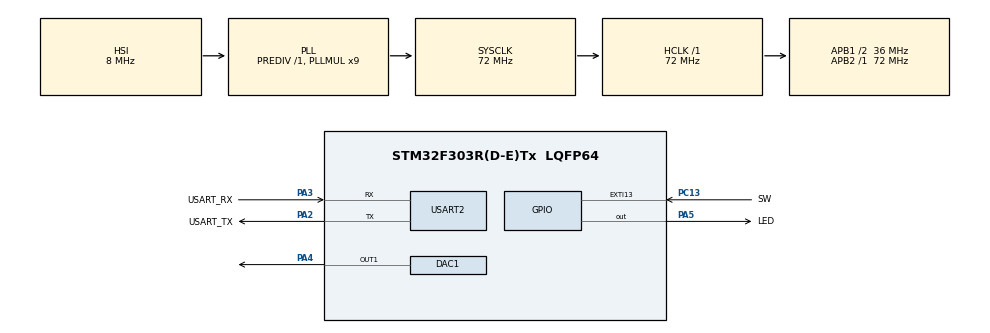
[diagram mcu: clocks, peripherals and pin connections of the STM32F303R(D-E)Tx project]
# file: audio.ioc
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DAC1.DAC_Trigger=DAC_TRIGGER_T6_TRGO
Dma.DAC1_CH1.0.Direction=DMA_MEMORY_TO_PERIPH
Dma.DAC1_CH1.0.Instance=DMA1_Channel3
Dma.DAC1_CH1.0.MemDataAlignment=DMA_MDATAALIGN_WORD
Dma.DAC1_CH1.0.MemInc=DMA_MINC_ENABLE
Dma.DAC1_CH1.0.Mode=DMA_CIRCULAR
Dma.DAC1_CH1.0.PeriphDataAlignment=DMA_PDATAALIGN_WORD
Dma.DAC1_CH1.0.PeriphInc=DMA_PINC_DISABLE
Dma.DAC1_CH1.0.Priority=DMA_PRIORITY_LOW
Dma.Request0=DAC1_CH1
Mcu.Family=STM32F3
Mcu.Name=STM32F303R(D-E)Tx
Mcu.Package=LQFP64
NVIC.DMA1_Channel3_IRQn=true\:0\:0\:false\:false\:true\:false\:true
NVIC.PriorityGroup=NVIC_PRIORITYGROUP_0
PA13.GPIO_Label=TMS
PA13.Mode=Serial_Wire
PA13.Signal=SYS_JTMS-SWDIO
PA14.GPIO_Label=TCK
PA14.Mode=Serial_Wire
PA14.Signal=SYS_JTCK-SWCLK
PA2.GPIO_Label=USART_TX
PA2.GPIO_Mode=GPIO_MODE_AF_PP
PA2.GPIO_PuPd=GPIO_NOPULL
PA2.GPIO_Speed=GPIO_SPEED_FREQ_LOW
PA2.Mode=Asynchronous
PA2.Signal=USART2_TX
PA3.GPIO_Label=USART_RX
PA3.GPIO_Mode=GPIO_MODE_AF_PP
PA3.GPIO_PuPd=GPIO_NOPULL
PA3.GPIO_Speed=GPIO_SPEED_FREQ_LOW
PA3.Mode=Asynchronous
PA3.Signal=USART2_RX
PA4.Signal=COMP_DAC11_group
PA5.GPIO_Label=LED
PA5.GPIO_Mode=GPIO_MODE_OUTPUT_PP
PA5.GPIO_PuPd=GPIO_NOPULL
PA5.GPIO_Speed=GPIO_SPEED_FREQ_LOW
PA5.Signal=GPIO_Output
PB3.GPIO_Label=SWO
PB3.Signal=SYS_JTDO-TRACESWO
PC13.GPIO_Label=SW
PC13.GPIO_ModeDefaultEXTI=GPIO_MODE_IT_FALLING
PC13.Signal=GPXTI13
PC14-OSC32_IN.Mode=LSE-External-Oscillator
PC14-OSC32_IN.Signal=RCC_OSC32_IN
PC15-OSC32_OUT.Mode=LSE-External-Oscillator
PC15-OSC32_OUT.Signal=RCC_OSC32_OUT
PF0-OSC_IN.Mode=HSE-External-Clock-Source
PF0-OSC_IN.Signal=RCC_OSC_IN
PF1-OSC_OUT.Signal=RCC_OSC_OUT
ProjectManager.HeapSize=0x200
ProjectManager.StackSize=0x400
ProjectManager.TargetToolchain=STM32CubeIDE
RCC.AHBFreq_Value=72000000
RCC.APB1CLKDivider=RCC_HCLK_DIV2
RCC.APB1Freq_Value=36000000
RCC.APB1TimFreq_Value=72000000
RCC.APB2Freq_Value=72000000
RCC.APB2TimFreq_Value=72000000
RCC.CortexFreq_Value=72000000
RCC.HCLKFreq_Value=72000000
RCC.HSE_VALUE=8000000
RCC.HSI_VALUE=8000000
RCC.PLLM=8
RCC.PLLMUL=RCC_PLL_MUL9
RCC.PLLN=336
RCC.PLLP=RCC_PLLP_DIV4
RCC.PLLQ=7
RCC.RCC_PLLsource_Clock_Source_FROM_HSE=RCC_HSE_PREDIV_DIV2
RCC.SYSCLKFreq_VALUE=72000000
RCC.SYSCLKSourceVirtual=RCC_SYSCLKSOURCE_PLLCLK
RCC.USBFreq_Value=72000000
SH.COMP_DAC11_group.0=DAC1_OUT1,DAC_OUT1
TIM6.Period=1277
TIM6.TIM_MasterOutputTrigger=TIM_TRGO_UPDATE
USART2.VirtualMode-Asynchronous=VM_ASYNC
VP_TIM6_VS_ClockSourceINT.Mode=Enable_Timer
board=NUCLEO-F303RE

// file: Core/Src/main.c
/* USER CODE BEGIN Header */
/**
  ******************************************************************************
  * @file           : main.c
  * @brief          : Main program body
  ******************************************************************************
  * @attention
  *
  * <h2><center>&copy; Copyright (c) 2020 STMicroelectronics.
  * All rights reserved.</center></h2>
  *
  * This software component is licensed by ST under BSD 3-Clause license,
  * the "License"; You may not use this file except in compliance with the
  * License. You may obtain a copy of the License at:
  *                        opensource.org/licenses/BSD-3-Clause
  *
  ******************************************************************************
  */
/* USER CODE END Header */

#include "main.h"

/* USER CODE BEGIN Includes */
#include <stdbool.h>
#include "signal_generator.h"
/* USER CODE END Includes */

DAC_HandleTypeDef hdac1;
DMA_HandleTypeDef hdma_dac1_ch1;

TIM_HandleTypeDef htim6;

UART_HandleTypeDef huart2;

/* USER CODE BEGIN PV */
unsigned tickStart;
unsigned arrA1 = 1277, arrA2 = 639 ;
bool once = false;
/* USER CODE END PV */

void SystemClock_Config(void);
static void MX_GPIO_Init(void);
static void MX_DMA_Init(void);
static void MX_USART2_UART_Init(void);
static void MX_DAC1_Init(void);
static void MX_TIM6_Init(void);

int main(void)
{

  /* MCU Configuration--------------------------------------------------------*/

  /* Reset of all peripherals, Initializes the Flash interface and the Systick. */
  HAL_Init();

  /* Configure the system clock */
  SystemClock_Config();

  /* Initialize all configured peripherals */
  MX_GPIO_Init();
  MX_DMA_Init();
  MX_USART2_UART_Init();
  MX_DAC1_Init();
  MX_TIM6_Init();
  /* USER CODE BEGIN 2 */
  HAL_DAC_Start_DMA(&hdac1, DAC_CHANNEL_1, (uint32_t*)sineWaveLut, 128, DAC_ALIGN_12B_R);
  HAL_TIM_Base_Start(&htim6);
  signalGeneratorInit(&htim6);
  tickStart = HAL_GetTick();
  /* USER CODE END 2 */

  /* Infinite loop */
  /* USER CODE BEGIN WHILE */
  while (1)
  {
	  if((HAL_GetTick() - tickStart) >= 1000)
	  {
		  HAL_GPIO_TogglePin(LED_GPIO_Port, LED_Pin);
		  if(once)
			  signalGeneratorPlayNote(A_4);
		  else
			  signalGeneratorPlayNote(A_5);

		  once ^= true;

		  tickStart = HAL_GetTick();
	  }
    /* USER CODE END WHILE */

  }
}

void SystemClock_Config(void)
{
  RCC_OscInitTypeDef RCC_OscInitStruct = {0};
  RCC_ClkInitTypeDef RCC_ClkInitStruct = {0};
  RCC_PeriphCLKInitTypeDef PeriphClkInit = {0};

  /** Initializes the CPU, AHB and APB busses clocks
  */
  RCC_OscInitStruct.OscillatorType = RCC_OSCILLATORTYPE_HSI;
  RCC_OscInitStruct.HSIState = RCC_HSI_ON;
  RCC_OscInitStruct.HSICalibrationValue = RCC_HSICALIBRATION_DEFAULT;
  RCC_OscInitStruct.PLL.PLLState = RCC_PLL_ON;
  RCC_OscInitStruct.PLL.PLLSource = RCC_PLLSOURCE_HSI;
  RCC_OscInitStruct.PLL.PLLMUL = RCC_PLL_MUL9;
  RCC_OscInitStruct.PLL.PREDIV = RCC_PREDIV_DIV1;
  if (HAL_RCC_OscConfig(&RCC_OscInitStruct) != HAL_OK)
  {
    Error_Handler();
  }
  /** Initializes the CPU, AHB and APB busses clocks
  */
  RCC_ClkInitStruct.ClockType = RCC_CLOCKTYPE_HCLK|RCC_CLOCKTYPE_SYSCLK
                              |RCC_CLOCKTYPE_PCLK1|RCC_CLOCKTYPE_PCLK2;
  RCC_ClkInitStruct.SYSCLKSource = RCC_SYSCLKSOURCE_PLLCLK;
  RCC_ClkInitStruct.AHBCLKDivider = RCC_SYSCLK_DIV1;
  RCC_ClkInitStruct.APB1CLKDivider = RCC_HCLK_DIV2;
  RCC_ClkInitStruct.APB2CLKDivider = RCC_HCLK_DIV1;

  if (HAL_RCC_ClockConfig(&RCC_ClkInitStruct, FLASH_LATENCY_2) != HAL_OK)
  {
    Error_Handler();
  }
  PeriphClkInit.PeriphClockSelection = RCC_PERIPHCLK_USART2;
  PeriphClkInit.Usart2ClockSelection = RCC_USART2CLKSOURCE_PCLK1;
  if (HAL_RCCEx_PeriphCLKConfig(&PeriphClkInit) != HAL_OK)
  {
    Error_Handler();
  }
}

static void MX_DAC1_Init(void)
{

  DAC_ChannelConfTypeDef sConfig = {0};

  /** DAC Initialization
  */
  hdac1.Instance = DAC1;
  if (HAL_DAC_Init(&hdac1) != HAL_OK)
  {
    Error_Handler();
  }
  /** DAC channel OUT1 config
  */
  sConfig.DAC_Trigger = DAC_TRIGGER_T6_TRGO;
  sConfig.DAC_OutputBuffer = DAC_OUTPUTBUFFER_ENABLE;
  if (HAL_DAC_ConfigChannel(&hdac1, &sConfig, DAC_CHANNEL_1) != HAL_OK)
  {
    Error_Handler();
  }

}

static void MX_TIM6_Init(void)
{

  TIM_MasterConfigTypeDef sMasterConfig = {0};

  htim6.Instance = TIM6;
  htim6.Init.Prescaler = 0;
  htim6.Init.CounterMode = TIM_COUNTERMODE_UP;
  htim6.Init.Period = 1277;
  htim6.Init.AutoReloadPreload = TIM_AUTORELOAD_PRELOAD_DISABLE;
  if (HAL_TIM_Base_Init(&htim6) != HAL_OK)
  {
    Error_Handler();
  }
  sMasterConfig.MasterOutputTrigger = TIM_TRGO_UPDATE;
  sMasterConfig.MasterSlaveMode = TIM_MASTERSLAVEMODE_DISABLE;
  if (HAL_TIMEx_MasterConfigSynchronization(&htim6, &sMasterConfig) != HAL_OK)
  {
    Error_Handler();
  }

}

static void MX_USART2_UART_Init(void)
{

  huart2.Instance = USART2;
  huart2.Init.BaudRate = 38400;
  huart2.Init.WordLength = UART_WORDLENGTH_8B;
  huart2.Init.StopBits = UART_STOPBITS_1;
  huart2.Init.Parity = UART_PARITY_NONE;
  huart2.Init.Mode = UART_MODE_TX_RX;
  huart2.Init.HwFlowCtl = UART_HWCONTROL_NONE;
  huart2.Init.OverSampling = UART_OVERSAMPLING_16;
  huart2.Init.OneBitSampling = UART_ONE_BIT_SAMPLE_DISABLE;
  huart2.AdvancedInit.AdvFeatureInit = UART_ADVFEATURE_NO_INIT;
  if (HAL_UART_Init(&huart2) != HAL_OK)
  {
    Error_Handler();
  }

}

static void MX_DMA_Init(void)
{

  /* DMA controller clock enable */
  __HAL_RCC_DMA1_CLK_ENABLE();

  /* DMA interrupt init */
  /* DMA1_Channel3_IRQn interrupt configuration */
  HAL_NVIC_SetPriority(DMA1_Channel3_IRQn, 0, 0);
  HAL_NVIC_EnableIRQ(DMA1_Channel3_IRQn);

}

static void MX_GPIO_Init(void)
{
  GPIO_InitTypeDef GPIO_InitStruct = {0};

  /* GPIO Ports Clock Enable */
  __HAL_RCC_GPIOC_CLK_ENABLE();
  __HAL_RCC_GPIOF_CLK_ENABLE();
  __HAL_RCC_GPIOA_CLK_ENABLE();
  __HAL_RCC_GPIOB_CLK_ENABLE();

  /*Configure GPIO pin Output Level */
  HAL_GPIO_WritePin(LED_GPIO_Port, LED_Pin, GPIO_PIN_RESET);

  /*Configure GPIO pin : SW_Pin */
  GPIO_InitStruct.Pin = SW_Pin;
  GPIO_InitStruct.Mode = GPIO_MODE_IT_FALLING;
  GPIO_InitStruct.Pull = GPIO_NOPULL;
  HAL_GPIO_Init(SW_GPIO_Port, &GPIO_InitStruct);

  /*Configure GPIO pin : LED_Pin */
  GPIO_InitStruct.Pin = LED_Pin;
  GPIO_InitStruct.Mode = GPIO_MODE_OUTPUT_PP;
  GPIO_InitStruct.Pull = GPIO_NOPULL;
  GPIO_InitStruct.Speed = GPIO_SPEED_FREQ_LOW;
  HAL_GPIO_Init(LED_GPIO_Port, &GPIO_InitStruct);

}

void Error_Handler(void)
{
}

/************************ (C) COPYRIGHT STMicroelectronics *****END OF FILE****/
